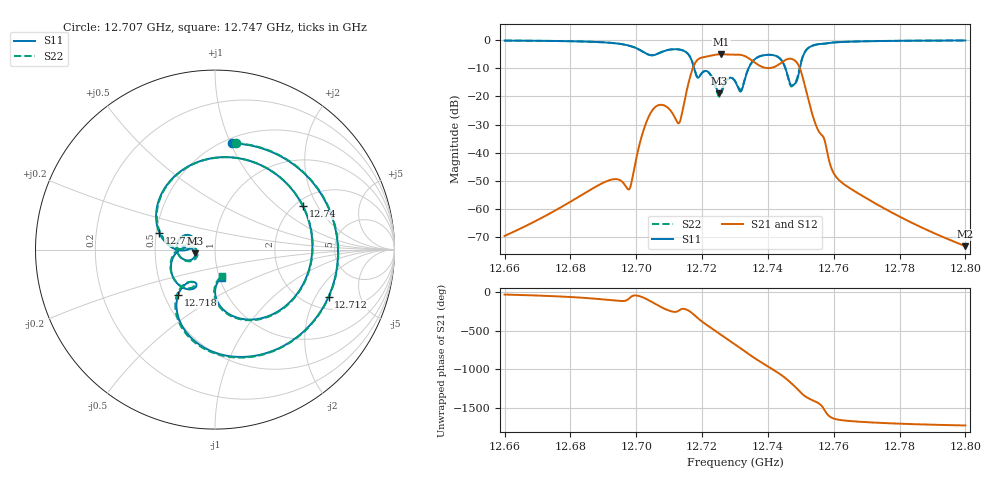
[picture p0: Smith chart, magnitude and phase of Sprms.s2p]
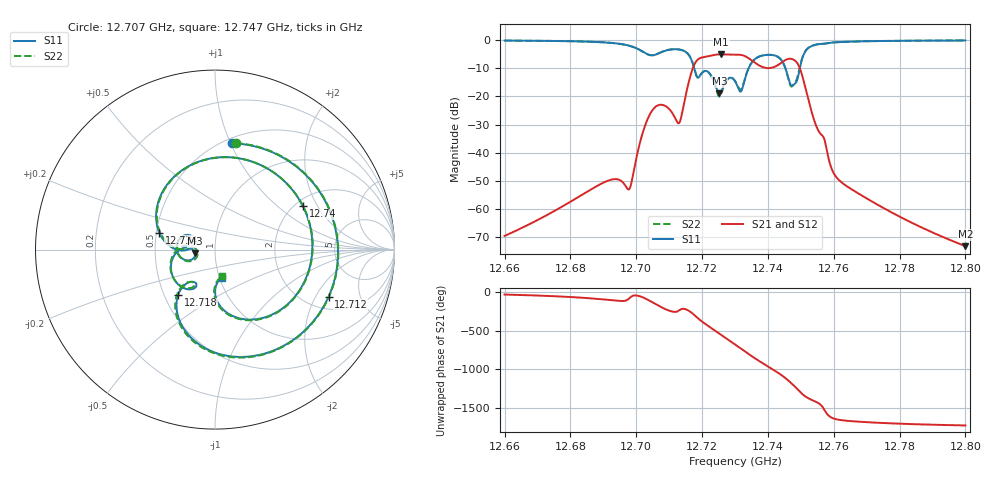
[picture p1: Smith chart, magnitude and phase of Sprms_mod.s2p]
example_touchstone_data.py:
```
"""
Демонстрация базовых возможностей класса TouchstoneData

Требования:
    Библиотека **MWLab** использует некоторые возможности пакета с открытым исходным кодом — https://scikit-rf.org/.
    Поэтому перед началом работы с **MWLab** необходимо также установить **scikit-rf**.
"""
from pathlib import Path
import numpy as np
import matplotlib.pyplot as plt
import skrf as rf
from mwlab import TouchstoneData
import json

"""
    Воспользуемся готовым примером Touchstone-файла из библиотеки **MWLab**.  
    Файл `Sprms.s2p` был получен в CST Studio и содержит:
        - параметры электромагнитной модели СВЧ-фильтра 12-го порядка (указаны в заголовке файла),
        - рассчитанные S-параметры в заданном частотном диапазоне.
"""


EXAMPLE = Path(__file__).with_name("Sprms.s2p")

# --------------------------------------------------------------------------- #
# 1. Чтение готового Touchstone-файла                                         #
# --------------------------------------------------------------------------- #
ts = TouchstoneData.load(EXAMPLE)

print("------ Исходный файл -------")
print("Путь к файлу:               ", ts.path)
print("Параметры модели:           ", ts.params)
print("Количество значений частоты:", len(ts.network.f), "\n")

"""
    Объект `TouchstoneData.network` позволяет удобно визуализировать данные из Touchstone-файла,  
    например, строить графики частотной зависимости S-параметров в децибелах.
"""

# Построение S-параметров в логарифмическом масштабе (dB)
ts.network.plot_s_db()

"""
    Объект `TouchstoneData.network` предоставляет доступ ко всем данным Touchstone-файла, 
    включая матрицу S-параметров и вектор частот.  
    С его помощью можно гибко выбирать нужные параметры (например, только S11 или S21), 
    а также настраивать формат отображения графиков в соответствии с задачами анализа.
"""
plt.figure(figsize=(6, 4))
ts.network.plot_s_db(m=0, n=0, color='r', label='S11')
ts.network.plot_s_db(m=1, n=0, color='b', label='S21')
plt.title("S-параметры: S11 и S21")
plt.xlabel("Частота (Гц)")
plt.ylabel("Амплитуда (dB)")
plt.grid(True)
plt.legend()
plt.tight_layout()
plt.show()

# --------------------------------------------------------------------------- #
# 2 Обновление параметров и сохранение в файл                                 #
# --------------------------------------------------------------------------- #

"""
    Параметры электромагнитной модели СВЧ-устройства хранятся в словаре `TouchstoneData.params`.
    
    Следующий пример демонстрирует, как получить доступ к этим параметрам, внести изменения и сохранить 
    обновленные данные обратно в Touchstone-файл с помощью объекта класса `TouchstoneData`.
"""
# ts.params — это словарь параметров электромагнитной модели
first_param = list(ts.params.keys())[0]      # Получаем название первого параметра
first_value = ts.params[first_param]         # Получаем его значение

# Выводим первый параметр и его значение
print(f"Первый параметр: {first_param}, значение: {first_value}\n")

# Увеличим значение этого параметра в 2 раза
ts.params[first_param] = first_value * 2

# Добавим новый параметр в словарь
ts.params["XYZ"] = 5.555

# Сохраним внесённые изменения в новый файл
ts.save("Sprms_mod.s2p")  # новая строка Parameters будет записана в файл "Sprms_mod.s2p"

"""
    На этом этапе можно заново загрузить файл `Sprms_mod.s2p` и проверить, что все изменения параметров 
    были успешно сохранены.
"""

ts2 = TouchstoneData.load("Sprms_mod.s2p")

print("--- Модифицированный файл ---")
print("Путь к файлу:     ", ts2.path)
print("Параметры модели:\n", json.dumps(ts2.params, indent=2))


# --------------------------------------------------------------------------- #
# 3. Создание TouchstoneData «с нуля» и сохранение в файл                     #
# --------------------------------------------------------------------------- #

"""
    Объекты класса `TouchstoneData` можно создавать не только через загрузку существующего Touchstone-файла, 
    но и **вручную**, с нуля — на основе собственных данных пользователя.
    Кроме того, `TouchstoneData` предоставляет удобный интерфейс для **сохранения этих данных** в формате Touchstone.  
    
    Следующий "игрушечный" пример демонстрирует, как это можно сделать.
"""

print("\n------ Создаем TouchstoneData «с нуля» ------")

# Частотный диапазон: от 2 до 4 ГГц, 201 точка
freq = rf.Frequency(2, 4, 201, unit="GHz")

# Инициализируем массив комплексных S-параметров: (частота, порт, порт)
s = np.zeros((201, 2, 2), dtype=np.complex64)

# Примерные значения S-параметров (для симметричного двухпортового фильтра)
s[:, 0, 0] = 10 ** (-15 / 20) * np.exp(1j * 0)     # S11 = -15 дБ
s[:, 1, 1] = 10 ** (-15 / 20) * np.exp(1j * 0)     # S22 = -15 дБ
s[:, 1, 0] = 10 ** (-2 / 20)  * np.exp(1j * np.pi) # S21 = -2 дБ, с фазовым сдвигом
s[:, 0, 1] = 10 ** (-2 / 20)  * np.exp(1j * np.pi) # S12 = -2 дБ, с фазовым сдвигом

# Создаем объект Network
net = rf.Network(frequency=freq, s=s, z0=50)

# Создаем TouchstoneData с произвольными параметрами
ts_new = TouchstoneData(
    network=net,
    params={"filter_order": 3, "fc": 3.0, "Q": 50.0},
)

# Сохраняем файл
ts_new.save("my_synth.s2p")
print("Создан файл my_synth.s2p с параметрами:\n", json.dumps(ts_new.params, indent=2))

# Визуализируем S-параметры
plt.figure(figsize=(6, 4))
ts_new.network.plot_s_db()
```
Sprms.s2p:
! TOUCHSTONE file generated by CST MICROWAVE STUDIO
! Date and time: Wed Jul 31 10:34:30 2024
! Project name: WaveGuide_BPF-Ver4.1_U-shape_Ku_T3_C4_CWA_2.cst
! Parameters = {cavity_h=16; cavity_l0=10; cavity_l1=15.2223; cavity_l2=16.8534; cavity_l3=17.1243; cavity_l4=17.257; cavity_l5=17.1229; cavity_l6=17.5688; cavity_r=2.5; cavity_screw_l=0.5; cavity_screw_r=1.5; cavity_w=8; iris_h00=0; iris_h01=8.8082; iris_h112=0; iris_h12=5.6076; iris_h211=3.6561; i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
! Header version: 2018
! Port assignment regex: !\s*Touchstone port\s*([0-9]+)\s*=\s*(CST MWS port|CST DS port)\s*([0-9]+|Zmin|Zmax)\s*\(\"(.*)\"\)(\s*mode\s*([0-9]+))?.*
! Touchstone port assignment:
! Touchstone port 1 = CST MWS port 1 ("")
! Touchstone port 2 = CST MWS port 2 ("")
# GHz S RI R 50
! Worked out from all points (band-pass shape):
!   5001 points, 12.66 GHz to 12.8 GHz, reference 50 ohm
!   highest |S21| = -5.06 dB at 12.726 GHz (marker M1); lowest = -73.2 dB at 12.8 GHz (marker M2)
!   |S21| within 3 dB of the highest: 12.71794 GHz to 12.73605 GHz (18.11 MHz wide, 0.142 % of centre); 12.74409 GHz to 12.74884 GHz (4.746 MHz wide, 0.0372 % of centre)
!   lowest |S11| = -19.0 dB at 12.725 GHz (marker M3), VSWR 1.25, Z = 40 - j1.65 ohm
!   |S11| at or under -10 dB: 12.71758 GHz to 12.73415 GHz (16.56 MHz wide, 0.13 % of centre); 12.74532 GHz to 12.7497 GHz (4.385 MHz wide, 0.0344 % of centre)
!   |S22| runs from -20.1 to -0.2 dB; largest |S21 - S12| = 1e-09
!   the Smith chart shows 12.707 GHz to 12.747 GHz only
!   S11 on the Smith chart (normalised r, x): 12.707 GHz: 0.55, +1.01; 12.712 GHz: 2.61, -2.58; 12.718 GHz: 0.59, -0.33; 12.734 GHz: 0.52, +0.11; 12.74 GHz: 2.20, +1.52; 12.747 GHz: 1.02, -0.33
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12.66  0.3836 0.8997  0.000296 -0.000154  0.000296 -0.000154  0.3884 0.8976
12.70738  0.0921 0.5921  -0.0704 0.00855  -0.0704 0.00855  0.116 0.5933
12.71236  0.633 -0.262  -0.0129 0.033  -0.0129 0.033  0.6294 -0.2746
12.71751  -0.2058 -0.254  0.1113 0.3342  0.1113 0.3342  -0.2128 -0.2545
12.72524  -0.1108 -0.0204  -0.5556 -0.0467  -0.5556 -0.0467  -0.0973 -0.017
12.7258  -0.1155 -0.043  -0.5467 0.1143  -0.5467 0.1143  -0.1026 -0.0434
12.73  -0.1678 0.0802  0.3735 0.4062  0.3735 0.4062  -0.1728 0.0745
12.73423  -0.3102 0.0939  0.0688 -0.4666  0.0688 -0.4666  -0.31 0.1062
12.74016  0.49 0.2414  -0.1362 0.2865  -0.1362 0.2865  0.4969 0.2293
12.74691  0.0366 -0.1569  -0.00229 -0.4655  -0.00229 -0.4655  0.0379 -0.149
12.8  -0.9292 0.3198  6.07e-05 0.000211  6.07e-05 0.000211  -0.9271 0.326
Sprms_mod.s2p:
! Created with skrf (http://scikit-rf.org).
! Parameters = {cavity_h=32.0; cavity_l0=10.0; cavity_l1=15.2223; cavity_l2=16.8534; cavity_l3=17.1243; cavity_l4=17.257; cavity_l5=17.1229; cavity_l6=17.5688; cavity_r=2.5; cavity_screw_l=0.5; cavity_screw_r=1.5; cavity_w=8.0; iris_h00=0.0; iris_h01=8.8082; iris_h112=0.0; iris_h12=5.6076; iris_h211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
# GHz S RI R 50.0
!freq ReS11 ImS11 ReS21 ImS21 ReS12 ImS12 ReS22 ImS22
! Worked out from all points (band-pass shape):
!   5001 points, 12.66 GHz to 12.8 GHz, reference 50 ohm
!   highest |S21| = -5.06 dB at 12.726 GHz (marker M1); lowest = -73.2 dB at 12.8 GHz (marker M2)
!   |S21| within 3 dB of the highest: 12.71794 GHz to 12.73605 GHz (18.11 MHz wide, 0.142 % of centre); 12.74409 GHz to 12.74884 GHz (4.746 MHz wide, 0.0372 % of centre)
!   lowest |S11| = -19.0 dB at 12.725 GHz (marker M3), VSWR 1.25, Z = 40 - j1.65 ohm
!   |S11| at or under -10 dB: 12.71758 GHz to 12.73415 GHz (16.56 MHz wide, 0.13 % of centre); 12.74532 GHz to 12.7497 GHz (4.385 MHz wide, 0.0344 % of centre)
!   |S22| runs from -20.1 to -0.2 dB; largest |S21 - S12| = 1e-09
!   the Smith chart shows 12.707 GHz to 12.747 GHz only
!   S11 on the Smith chart (normalised r, x): 12.707 GHz: 0.55, +1.01; 12.712 GHz: 2.61, -2.58; 12.718 GHz: 0.59, -0.33; 12.734 GHz: 0.52, +0.11; 12.74 GHz: 2.20, +1.52; 12.747 GHz: 1.02, -0.33
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12.66  0.3836 0.8997  0.000296 -0.000154  0.000296 -0.000154  0.3884 0.8976
12.70738  0.0921 0.5921  -0.0704 0.00855  -0.0704 0.00855  0.116 0.5933
12.71236  0.633 -0.262  -0.0129 0.033  -0.0129 0.033  0.6294 -0.2746
12.71751  -0.2058 -0.254  0.1113 0.3342  0.1113 0.3342  -0.2128 -0.2545
12.72524  -0.1108 -0.0204  -0.5556 -0.0467  -0.5556 -0.0467  -0.0973 -0.017
12.7258  -0.1155 -0.043  -0.5467 0.1143  -0.5467 0.1143  -0.1026 -0.0434
12.73  -0.1678 0.0802  0.3735 0.4062  0.3735 0.4062  -0.1728 0.0745
12.73423  -0.3102 0.0939  0.0688 -0.4666  0.0688 -0.4666  -0.31 0.1062
12.74016  0.49 0.2414  -0.1362 0.2865  -0.1362 0.2865  0.4969 0.2293
12.74691  0.0366 -0.1569  -0.00229 -0.4655  -0.00229 -0.4655  0.0379 -0.149
12.8  -0.9292 0.3198  6.07e-05 0.000211  6.07e-05 0.000211  -0.9271 0.326
